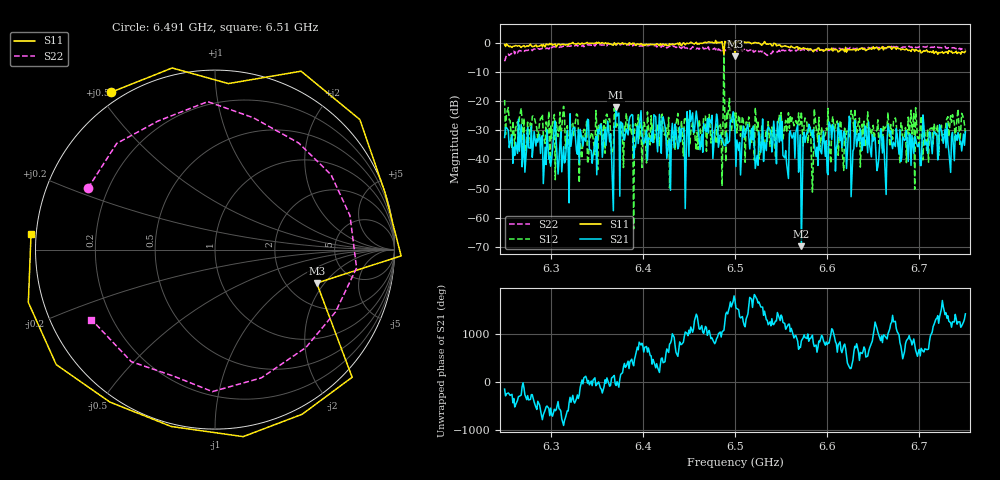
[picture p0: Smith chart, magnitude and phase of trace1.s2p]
# Hz S RI R 50
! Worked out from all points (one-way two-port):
!   401 points, 6.25 GHz to 6.75 GHz, reference 50 ohm
!   highest |S21| = -22.06 dB at 6.371 GHz (marker M1); lowest = -69.8 dB at 6.572 GHz (marker M2)
!   lowest |S11| = -4.5 dB at 6.5 GHz (marker M3), VSWR 3.96, Z = 145 - j83.8 ohm
!   |S11| at or under -10 dB: nowhere
!   |S22| runs from -6.2 to 0.0 dB; largest |S21 - S12| = 0.68
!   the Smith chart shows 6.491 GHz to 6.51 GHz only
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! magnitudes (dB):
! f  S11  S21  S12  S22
! 6.25 GHz  -0.5  -32.4  -19.5  -6.2
! 6.318 GHz  -0.4  -29.9  -28.4  -1.1
! 6.328 GHz  -0.4  -37.1  -24.3  -0.5
! 6.334 GHz  0.1  -33.1  -39.6  -1.0
! 6.366 GHz  -0.4  -38.3  -38.4  -0.6
! 6.371 GHz  -0.6  -22.1  -29.3  -0.5
! 6.378 GHz  0.1  -27.7  -33.0  0.0
! 6.388 GHz  -0.4  -24.5  -31.7  -0.3
! 6.418 GHz  -0.8  -24.5  -35.2  -1.0
! 6.429 GHz  -0.1  -33.1  -49.8  -0.9
! 6.454 GHz  0.0  -24.0  -27.3  -1.2
! 6.5 GHz  -4.5  -30.0  -29.2  -2.2
! 6.525 GHz  0.1  -42.0  -26.6  -2.5
! 6.549 GHz  -0.6  -25.4  -30.7  -2.9
! 6.555 GHz  -0.9  -36.9  -26.5  -2.5
! 6.561 GHz  -0.9  -31.8  -27.5  -2.5
! 6.572 GHz  -2.0  -69.8  -23.5  -2.3
! 6.584 GHz  -2.5  -32.4  -51.2  -2.3
! 6.599 GHz  -1.9  -33.5  -29.3  -2.0
! 6.605 GHz  -1.7  -33.1  -28.4  -2.3
! 6.668 GHz  -1.2  -31.1  -35.4  -1.4
! 6.75 GHz  -2.7  -30.4  -31.0  -2.0
